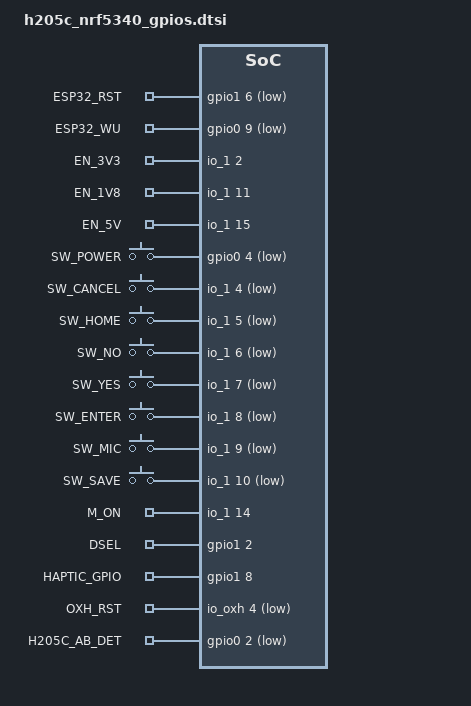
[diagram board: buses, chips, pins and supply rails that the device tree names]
/*
 * Copyright (c) 2022 Acme CPU
 *
 * Created on: 19-Oct-2022
 * Author: Rohan Dey (rohan@acmecpu.cpm)
 *
 * H205C GPIOs
 *      - WiFi
 *      - Power
 *      - Keypad
 *      - Other
 */

/ {
	wifi_gpios {
		compatible = "gpio-keys";
	    net_rst: net_rst {
	      gpios = <&gpio1 6 (GPIO_ACTIVE_LOW)>;
	      label = "ESP32_RST";
	    };
	    
	    net_wake: net_wake {
	      gpios = <&gpio0 9 (GPIO_ACTIVE_LOW)>;
	      label = "ESP32_WU";
	    };
	};

	pwr_gpios {
		compatible = "gpio-keys";
	  en_3v3: en_3v3 {
	    gpios = <&io_1 2 (GPIO_ACTIVE_HIGH)>;
	    label = "EN_3V3";
	  };
	    
	  en_1v8: en_1v8 {
	    gpios = <&io_1 11 (GPIO_ACTIVE_HIGH)>;
	    label = "EN_1V8";
	  };
	
    en_5v: en_5v {
      gpios = <&io_1 15 (GPIO_ACTIVE_HIGH)>;
      label = "EN_5V";
    };
  };

  keypad {
    compatible = "gpio-keys";
    switch_1: switch_1 {
      gpios = <&gpio0 4 (GPIO_PULL_UP | GPIO_ACTIVE_LOW)>;
      label = "SW_POWER";
    };
    switch_2: switch_2 {
      gpios = <&io_1 4 (GPIO_PULL_UP | GPIO_ACTIVE_LOW)>;
      label = "SW_CANCEL";
    };
    switch_3: switch_3 {
      gpios = <&io_1 5 (GPIO_PULL_UP | GPIO_ACTIVE_LOW)>;
      label = "SW_HOME";
    };
    switch_4: switch_4 {
      gpios = <&io_1 6 (GPIO_PULL_UP | GPIO_ACTIVE_LOW)>;
      label = "SW_NO";
    };
    switch_5: switch_5 {
      gpios = <&io_1 7 (GPIO_PULL_UP | GPIO_ACTIVE_LOW)>;
      label = "SW_YES";
    };
    switch_6: switch_6 {
      gpios = <&io_1 8 (GPIO_PULL_UP | GPIO_ACTIVE_LOW)>;
      label = "SW_ENTER";
    };
    switch_7: switch_7 {
      gpios = <&io_1 9 (GPIO_PULL_UP | GPIO_ACTIVE_LOW)>;
      label = "SW_MIC";
    };
    switch_8: switch_8 {
      gpios = <&io_1 10 (GPIO_PULL_UP | GPIO_ACTIVE_LOW)>;
      label = "SW_SAVE";
    };
  };

  other_gpios {
	  compatible = "gpio-keys";
	  vmeasure_en: vmeasure_en {
	    gpios = <&io_1 14 (GPIO_ACTIVE_HIGH)>;
	    label = "M_ON";
	  };
    usb_dsel: usb_dsel {
      gpios = <&gpio1 2 (GPIO_ACTIVE_HIGH)>;
      label = "DSEL";
    };
    haptic_gpio: haptic_gpio {
      gpios = <&gpio1 8 (GPIO_ACTIVE_HIGH)>;
      label = "HAPTIC_GPIO";
    };
    oxh_rst: oxh_rst {
	    gpios = <&io_oxh 4 (GPIO_ACTIVE_LOW)>;
	    label = "OXH_RST";
	  };
    h205c_ab_det: h205c_ab_det {
      gpios = <&gpio0 2 (GPIO_PULL_UP | GPIO_ACTIVE_LOW)>;
      label = "H205C_AB_DET";
    };
  };
};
